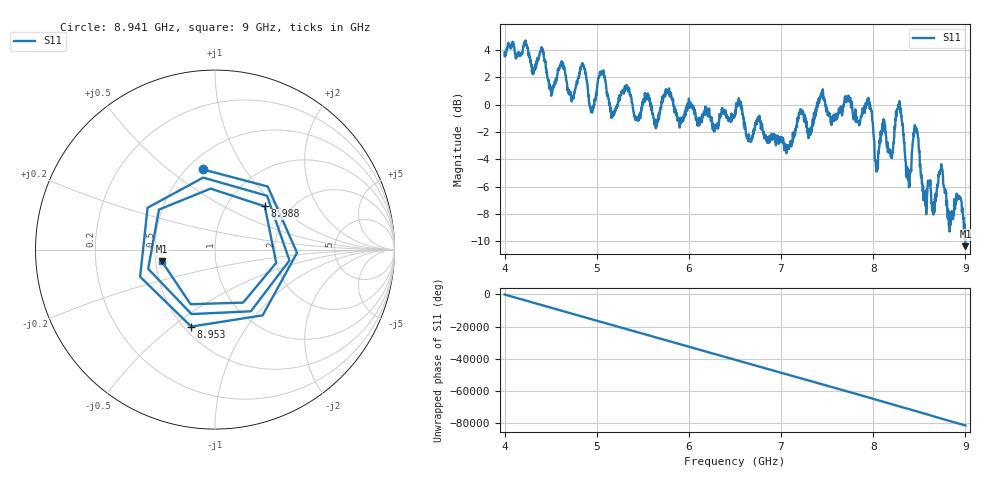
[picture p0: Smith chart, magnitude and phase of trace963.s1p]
! Created with skrf 1.8.0 (http://scikit-rf.org).
# Hz S RI R 50.0
!freq ReS11 ImS11
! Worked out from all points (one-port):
!   1601 points, 4 GHz to 9 GHz, reference 50 ohm
!   lowest |S11| = -10.3 dB at 9 GHz (marker M1), VSWR 1.87, Z = 26.9 - j3.8 ohm
!   |S11| at or under -10 dB: 8.998722 GHz to end of sweep
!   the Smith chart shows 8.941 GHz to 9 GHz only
!   S11 on the Smith chart (normalised r, x): 8.941 GHz: 0.60, +0.67; 8.953 GHz: 0.54, -0.59; 8.988 GHz: 1.49, +0.83; 9 GHz: 0.54, -0.08
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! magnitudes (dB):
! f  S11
! 4 GHz  3.8
! 4.403 GHz  4.2
! 4.509 GHz  0.9
! 4.625 GHz  3.1
! 4.728 GHz  0.2
! 4.856 GHz  2.9
! 4.941 GHz  -0.4
! 5.05 GHz  2.2
! 5.166 GHz  -0.6
! 5.25 GHz  0.4
! 5.875 GHz  -1.1
! 6.5 GHz  -0.8
! 7.125 GHz  -2.7
! 7.75 GHz  0.5
! 7.959 GHz  0.2
! 8.041 GHz  -4.2
! 8.106 GHz  -1.6
! 8.197 GHz  -3.9
! 8.281 GHz  0.0
! 8.375 GHz  -5.5
! 8.462 GHz  -1.7
! 8.559 GHz  -7.0
! 8.731 GHz  -4.8
! 8.828 GHz  -9.3
! 8.941 GHz  -6.9
! 8.953 GHz  -7.0
! 8.988 GHz  -8.7
! 9 GHz  -10.3
